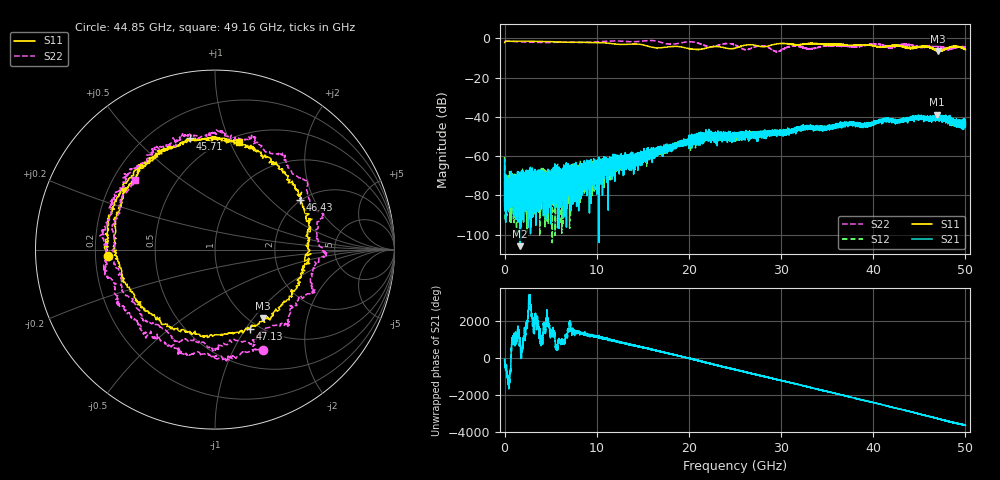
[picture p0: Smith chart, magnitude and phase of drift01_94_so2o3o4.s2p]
!Created with skrf (http://scikit-rf.org).
# Hz S RI R 50.0
!freq ReS11 ImS11 ReS21 ImS21 ReS12 ImS12 ReS22 ImS22
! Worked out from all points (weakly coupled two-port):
!   10001 points, 300 kHz to 50 GHz, reference 50 ohm
!   highest |S21| = -38.93 dB at 46.89 GHz (marker M1); lowest = -105.9 dB at 1.64 GHz (marker M2)
!   lowest |S11| = -6.6 dB at 47.05 GHz (marker M3), VSWR 2.75, Z = 57 - j55.8 ohm
!   |S11| at or under -10 dB: nowhere
!   |S22| runs from -6.8 to -1.0 dB; largest |S21 - S12| = 0.0036
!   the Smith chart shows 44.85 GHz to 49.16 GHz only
!   S11 on the Smith chart (normalised r, x): 44.85 GHz: 0.25, -0.03; 45.71 GHz: 0.35, +0.74; 46.43 GHz: 1.98, +1.58; 47.13 GHz: 0.91, -1.05; 49.16 GHz: 0.56, +1.09
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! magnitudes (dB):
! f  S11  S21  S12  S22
! 300 kHz  -2.1  -62.0  -60.4  -1.3
! 265.3 MHz  -1.4  -79.7  -79.3  -1.4
! 1.64 GHz  -1.4  -105.9  -83.3  -1.8
! 5.99 GHz  -1.8  -74.3  -69.6  -2.0
! 8.335 GHz  -1.9  -68.7  -71.6  -2.1
! 16.67 GHz  -4.8  -56.9  -57.2  -1.6
! 21.88 GHz  -5.0  -50.8  -50.0  -3.8
! 25 GHz  -5.0  -49.1  -49.7  -3.4
! 26.18 GHz  -3.3  -49.1  -49.1  -5.7
! 28.09 GHz  -4.3  -48.4  -48.2  -3.8
! 29.52 GHz  -2.8  -49.2  -48.4  -6.8
! 31.28 GHz  -3.0  -47.6  -47.2  -4.0
! 33.34 GHz  -2.6  -45.0  -45.2  -5.5
! 41.67 GHz  -3.9  -41.3  -41.5  -4.6
! 44.85 GHz  -4.4  -40.0  -41.1  -4.1
! 45.71 GHz  -3.9  -41.5  -40.4  -4.3
! 46.43 GHz  -5.2  -40.7  -40.3  -3.5
! 46.89 GHz  -6.0  -38.9  -39.7  -4.2
! 47.05 GHz  -6.6  -40.2  -40.3  -4.4
! 47.13 GHz  -6.4  -40.8  -40.0  -3.9
! 49.16 GHz  -4.2  -43.0  -42.8  -4.6
! 50 GHz  -5.7  -43.9  -42.5  -4.3
